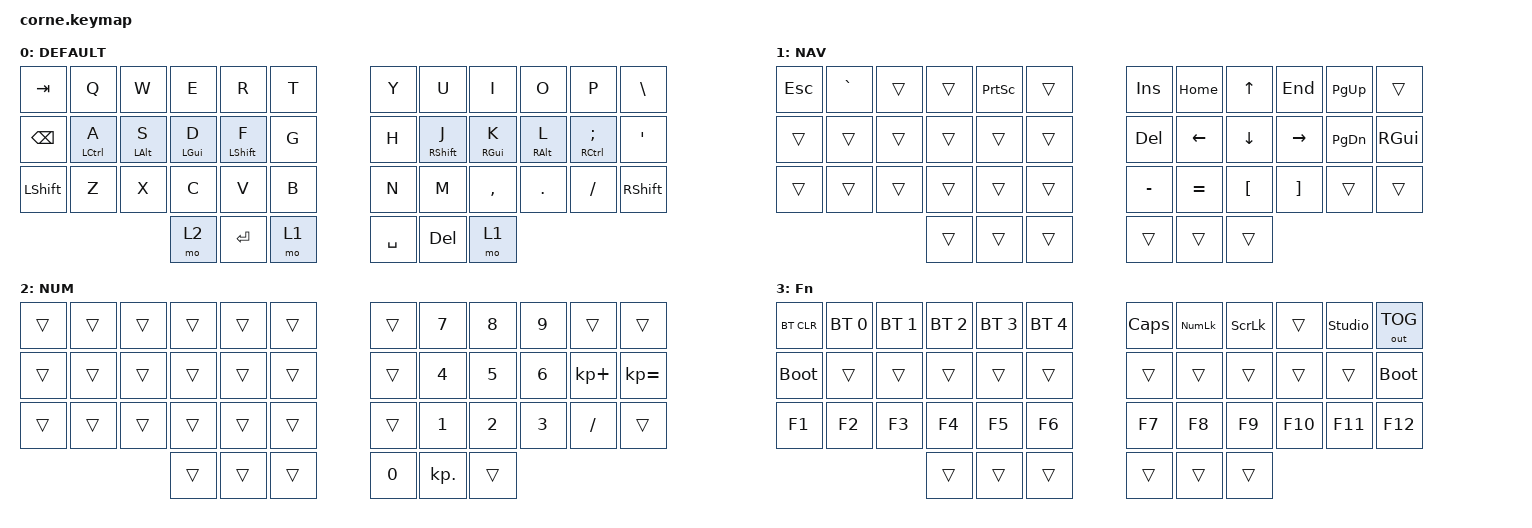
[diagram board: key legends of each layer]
/*
 * Copyright (c) 2020 The ZMK Contributors
 *
 * SPDX-License-Identifier: MIT
 */

#include <behaviors.dtsi>
#include <dt-bindings/zmk/bt.h>
#include <dt-bindings/zmk/keys.h>
#include <dt-bindings/zmk/outputs.h>


  &pro_micro_i2c {
    status = "disabled";
  };

  / {
    chosen {
      zephyr,display=&epd;
      zmk,battery=&vbatt;
    };

    vbatt: vbatt {
        compatible = "zmk,battery-nrf-vddh";
        //      init-delay-ms = <50>;
    };
  };

  &pinctrl {
      spi0_default: spi0_default {
          group1 {
              psels = <NRF_PSEL(SPIM_SCK, 0, 20)>,
                  <NRF_PSEL(SPIM_MOSI, 0, 17)>,
                  <NRF_PSEL(SPIM_MISO, 0, 5)>;
          };
      };

      spi0_sleep: spi0_sleep {
          group1 {
              psels = <NRF_PSEL(SPIM_SCK, 0, 20)>,
                  <NRF_PSEL(SPIM_MOSI, 0, 17)>,
                  <NRF_PSEL(SPIM_MISO, 0, 5)>;
              low-power-enable;
          };
      };
  };

  &spi0 {
      status = "okay";
      pinctrl-0 = <&spi0_default>;
      pinctrl-1 = <&spi0_sleep>;
      pinctrl-names = "default", "sleep";
      cs-gpios = <&pro_micro 16 GPIO_ACTIVE_LOW>;

      epd: il0323@0 {
          compatible = "gooddisplay,il0323";
          reg =  <0>;
          width = <80>;
          height = <128>;
          spi-max-frequency = <4000000>;
          dc-gpios = <&pro_micro 10 GPIO_ACTIVE_LOW>;
          busy-gpios = <&pro_micro 9 GPIO_ACTIVE_LOW>;
          reset-gpios = <&pro_micro 8 GPIO_ACTIVE_LOW>;
          pwr = [03 00 26 26];
          cdi = <0xd2>;
          tcon = <0x22>;
      };
  };


/ {

    behaviors {
        tpmt: tpmt {
            compatible = "zmk,behavior-hold-tap";
            label = "TPMT";
            bindings = <&kp>, <&kp>;

            #binding-cells = <2>;
            flavor = "tap-preferred";
            tapping-term-ms = <200>;
            require-prior-idle-ms = <125>;
            quick-tap-ms = <125>;
        };
    };

    keymap {
        compatible = "zmk,keymap";

        default_layer {
            // -----------------------------------------------------------------------------------------
            // |  TAB |  Q  |  W  |  E  |  R  |  T  |   |  Y  |  U   |  I  |  O  |  P  | BSPC |
            // | CTRL |  A  |  S  |  D  |  F  |  G  |   |  H  |  J   |  K  |  L  |  ;  |  '   |
            // | SHFT |  Z  |  X  |  C  |  V  |  B  |   |  N  |  M   |  ,  |  .  |  /  | ESC  |
            //                    | GUI | LWR | SPC |   | ENT | RSE  | ALT |

            bindings = <
&kp TAB        &kp Q          &kp W             &kp E             &kp R               &kp T    &kp Y      &kp U                &kp I              &kp O              &kp P             &kp BACKSLASH
&kp BACKSPACE  &tpmt LCTRL A  &tpmt LEFT_ALT S  &tpmt LEFT_GUI D  &tpmt LEFT_SHIFT F  &kp G    &kp H      &tpmt RIGHT_SHIFT J  &tpmt RIGHT_GUI K  &tpmt RIGHT_ALT L  &tpmt RCTRL SEMI  &kp SQT
&kp LSHFT      &kp Z          &kp X             &kp C             &kp V               &kp B    &kp N      &kp M                &kp COMMA          &kp DOT            &kp FSLH          &kp RIGHT_SHIFT
                                                &mo 2             &kp RETURN          &mo 1    &kp SPACE  &kp DELETE           &mo 1
            >;

            label = "DEFAULT";
        };

        lower_layer {
            // -----------------------------------------------------------------------------------------
            // |  TAB |  1  |  2  |  3  |  4  |  5  |   |  6  |  7  |  8  |  9  |  0  | BSPC |
            // | BTCLR| BT1 | BT2 | BT3 | BT4 | BT5 |   | LFT | DWN |  UP | RGT |     |      |
            // | SHFT |     |     |     |     |     |   |     |     |     |     |     |      |
            //                    | GUI |     | SPC |   | ENT |     | ALT |

            bindings = <
&kp ESCAPE  &kp GRAVE  &trans  &trans  &kp PRINTSCREEN  &trans    &kp INS     &kp HOME        &kp UP_ARROW      &kp END            &kp PG_UP  &trans
&trans      &trans     &trans  &trans  &trans           &trans    &kp DELETE  &kp LEFT_ARROW  &kp DOWN_ARROW    &kp RIGHT          &kp PG_DN  &kp RGUI
&trans      &trans     &trans  &trans  &trans           &trans    &kp MINUS   &kp EQUAL       &kp LEFT_BRACKET  &kp RIGHT_BRACKET  &trans     &trans
                               &trans  &trans           &trans    &trans      &trans          &trans
            >;

            label = "NAV";
        };

        raise_layer {
            // -----------------------------------------------------------------------------------------
            // |  TAB |  !  |  @  |  #  |  $  |  %  |   |  ^  |  &  |  *  |  (  |  )  | BSPC |
            // | CTRL |     |     |     |     |     |   |  -  |  =  |  [  |  ]  |  \  |  `   |
            // | SHFT |     |     |     |     |     |   |  _  |  +  |  {  |  }  | "|" |  ~   |
            //                    | GUI |     | SPC |   | ENT |     | ALT |

            bindings = <
&trans  &trans  &trans  &trans  &trans  &trans    &trans  &kp N7      &kp N8  &kp N9  &trans       &trans
&trans  &trans  &trans  &trans  &trans  &trans    &trans  &kp N4      &kp N5  &kp N6  &kp KP_PLUS  &kp KP_EQUAL
&trans  &trans  &trans  &trans  &trans  &trans    &trans  &kp N1      &kp N2  &kp N3  &kp SLASH    &trans
                        &trans  &trans  &trans    &kp N0  &kp KP_DOT  &trans
            >;

            label = "NUM";
        };

        sys_layer {
            bindings = <
&bt BT_CLR   &bt BT_SEL 0  &bt BT_SEL 1  &bt BT_SEL 2  &bt BT_SEL 3  &bt BT_SEL 4    &kp CAPSLOCK  &kp KP_NUMLOCK  &kp SCROLLLOCK  &trans   &studio_unlock  &out OUT_TOG
&bootloader  &trans        &trans        &trans        &trans        &trans          &trans        &trans          &trans          &trans   &trans          &bootloader
&kp F1       &kp F2        &kp F3        &kp F4        &kp F5        &kp F6          &kp F7        &kp F8          &kp F9          &kp F10  &kp F11         &kp F12
                                         &trans        &trans        &trans          &trans        &trans          &trans
            >;

            label = "Fn";
        };

        extra1 {
            status = "reserved";
        };

        extra2 {
            status = "reserved";
        };

    };

    conditional_layers {
        compatible = "zmk,conditional-layers";

        adjustment_layer {
            if-layers = <1 2>;
            then-layer = <3>;
        };
    };
};
